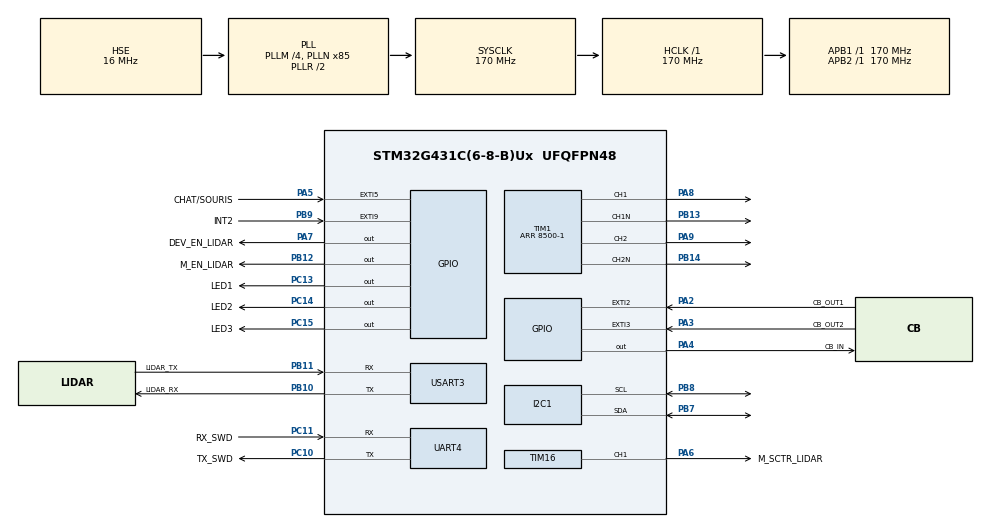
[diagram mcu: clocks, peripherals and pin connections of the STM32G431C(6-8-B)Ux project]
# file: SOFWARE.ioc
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FREERTOS.Tasks01=defaultTask,0,128,StartDefaultTask,Default,NULL,Dynamic,NULL,NULL
FREERTOS.configTOTAL_HEAP_SIZE=10000
FREERTOS.configUSE_NEWLIB_REENTRANT=1
I2C1.I2C_Fall_Time=150
I2C1.I2C_Rise_Time=150
I2C1.Speed=100
I2C1.Timing=0xA0623C56
Mcu.Family=STM32G4
Mcu.Name=STM32G431C(6-8-B)Ux
Mcu.Package=UFQFPN48
NVIC.EXTI2_IRQn=true\:5\:0\:false\:false\:true\:true\:true\:true\:true
NVIC.EXTI3_IRQn=true\:5\:0\:false\:false\:true\:true\:true\:true\:true
NVIC.EXTI9_5_IRQn=true\:5\:0\:false\:false\:true\:true\:true\:true\:true
NVIC.PriorityGroup=NVIC_PRIORITYGROUP_4
NVIC.RCC_IRQn=true\:5\:0\:false\:false\:true\:true\:true\:false\:true
NVIC.TIM2_IRQn=true\:8\:0\:true\:false\:true\:true\:true\:true\:true
NVIC.TIM6_DAC_IRQn=true\:15\:0\:false\:false\:true\:false\:false\:true\:true
NVIC.TimeBase=TIM6_DAC_IRQn
NVIC.TimeBaseIP=TIM6
NVIC.USART3_IRQn=true\:5\:0\:true\:false\:true\:true\:true\:true\:true
PA13.GPIO_Label=SWDIO
PA13.Mode=Trace_Asynchronous_SW
PA13.Signal=SYS_JTMS-SWDIO
PA14.GPIO_Label=SWCLK
PA14.Mode=Trace_Asynchronous_SW
PA14.Signal=SYS_JTCK-SWCLK
PA2.GPIO_Label=CB_OUT1
PA2.GPIO_ModeDefaultEXTI=GPIO_MODE_IT_FALLING
PA2.Signal=GPXTI2
PA3.GPIO_Label=CB_OUT2
PA3.GPIO_ModeDefaultEXTI=GPIO_MODE_IT_FALLING
PA3.Signal=GPXTI3
PA4.GPIO_Label=CB_IN
PA4.Signal=GPIO_Output
PA5.GPIO_Label=CHAT/SOURIS
PA5.GPIO_ModeDefaultEXTI=GPIO_MODE_IT_FALLING
PA5.Signal=GPXTI5
PA6.GPIO_Label=M_SCTR_LIDAR
PA6.Signal=S_TIM16_CH1
PA7.GPIO_Label=DEV_EN_LIDAR
PA7.Signal=GPIO_Output
PA8.GPIO_ModeDefaultPP=GPIO_MODE_AF_PP
PA8.GPIO_PuPd=GPIO_NOPULL
PA8.GPIO_Speed=GPIO_SPEED_FREQ_LOW
PA8.Signal=S_TIM1_CH1
PA9.GPIO_ModeDefaultPP=GPIO_MODE_AF_PP
PA9.GPIO_PuPd=GPIO_NOPULL
PA9.GPIO_Speed=GPIO_SPEED_FREQ_LOW
PA9.Signal=S_TIM1_CH2
PB10.GPIO_Label=LIDAR_RX
PB10.Mode=Asynchronous
PB10.Signal=USART3_TX
PB11.GPIO_Label=LIDAR_TX
PB11.Mode=Asynchronous
PB11.Signal=USART3_RX
PB12.GPIO_Label=M_EN_LIDAR
PB12.Signal=GPIO_Output
PB13.GPIO_ModeDefaultPP=GPIO_MODE_AF_PP
PB13.GPIO_PuPd=GPIO_NOPULL
PB13.GPIO_Speed=GPIO_SPEED_FREQ_LOW
PB13.Mode=PWM Generation1 CH1 CH1N
PB13.Signal=TIM1_CH1N
PB14.GPIO_ModeDefaultPP=GPIO_MODE_AF_PP
PB14.GPIO_PuPd=GPIO_NOPULL
PB14.GPIO_Speed=GPIO_SPEED_FREQ_LOW
PB14.Mode=PWM Generation2 CH2 CH2N
PB14.Signal=TIM1_CH2N
PB3.GPIO_Label=SWO
PB3.Mode=Trace_Asynchronous_SW
PB3.Signal=SYS_JTDO-SWO
PB7.Mode=I2C
PB7.Signal=I2C1_SDA
PB8-BOOT0.Mode=I2C
PB8-BOOT0.Signal=I2C1_SCL
PB9.GPIO_Label=INT2
PB9.GPIO_ModeDefaultEXTI=GPIO_MODE_IT_RISING
PB9.Signal=GPXTI9
PC10.GPIO_Label=TX_SWD
PC10.Mode=Asynchronous
PC10.Signal=UART4_TX
PC11.GPIO_Label=RX_SWD
PC11.Mode=Asynchronous
PC11.Signal=UART4_RX
PC13.GPIO_Label=LED1
PC13.Signal=GPIO_Output
PC14-OSC32_IN.GPIO_Label=LED2
PC14-OSC32_IN.Signal=GPIO_Output
PC15-OSC32_OUT.GPIO_Label=LED3
PC15-OSC32_OUT.Signal=GPIO_Output
PF0-OSC_IN.Mode=HSE-External-Oscillator
PF0-OSC_IN.Signal=RCC_OSC_IN
PF1-OSC_OUT.Mode=HSE-External-Oscillator
PF1-OSC_OUT.Signal=RCC_OSC_OUT
ProjectManager.HeapSize=0x200
ProjectManager.StackSize=0x400
ProjectManager.TargetToolchain=STM32CubeIDE
RCC.ADC12Freq_Value=170000000
RCC.AHBFreq_Value=170000000
RCC.APB1Freq_Value=170000000
RCC.APB1TimFreq_Value=170000000
RCC.APB2Freq_Value=170000000
RCC.APB2TimFreq_Value=170000000
RCC.CortexFreq_Value=170000000
RCC.EXTERNAL_CLOCK_VALUE=12288000
RCC.HCLKFreq_Value=170000000
RCC.HSE_VALUE=16000000
RCC.HSI48_VALUE=48000000
RCC.HSI_VALUE=16000000
RCC.LSE_VALUE=32768
RCC.PLLM=RCC_PLLM_DIV4
RCC.PLLN=85
RCC.PLLSourceVirtual=RCC_PLLSOURCE_HSE
RCC.SYSCLKFreq_VALUE=170000000
RCC.SYSCLKSource=RCC_SYSCLKSOURCE_PLLCLK
RCC.USBFreq_Value=170000000
RCC.VCOOutputFreq_Value=340000000
SH.S_TIM16_CH1.0=TIM16_CH1,PWM Generation1 CH1
SH.S_TIM1_CH1.0=TIM1_CH1,PWM Generation1 CH1 CH1N
SH.S_TIM1_CH2.0=TIM1_CH2,PWM Generation2 CH2 CH2N
TIM1.AutoReloadPreload=TIM_AUTORELOAD_PRELOAD_ENABLE
TIM1.Channel-PWM\ Generation1\ CH1\ CH1N=TIM_CHANNEL_1
TIM1.Channel-PWM\ Generation2\ CH2\ CH2N=TIM_CHANNEL_2
TIM1.DeadTime=10
TIM1.DeadTimePreload=DISABLE
TIM1.PeriodNoDither=8500-1
TIM1.PulseNoDither_1=3400
TIM1.PulseNoDither_2=2400
TIM16.Channel=TIM_CHANNEL_1
TIM2.PeriodNoDither=849999999
UART4.SwapParam=UART_ADVFEATURE_SWAP_DISABLE
USART3.VirtualMode-Asynchronous=VM_ASYNC
VP_FREERTOS_VS_CMSIS_V1.Mode=CMSIS_V1
VP_SYS_VS_DBSignals.Mode=DisableDeadBatterySignals
VP_SYS_VS_tim6.Mode=TIM6
VP_TIM16_VS_ClockSourceINT.Mode=Enable_Timer
VP_TIM1_VS_ClockSourceINT.Mode=Internal
VP_TIM2_VS_ClockSourceINT.Mode=Internal
board=custom

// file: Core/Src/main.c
/* USER CODE BEGIN Header */
/**
 ******************************************************************************
 * @file           : main.c
 * @brief          : Main program body
 ******************************************************************************
 * @attention
 *
 * Copyright (c) 2024 STMicroelectronics.
 * All rights reserved.
 *
 * This software is licensed under terms that can be found in the LICENSE file
 * in the root directory of this software component.
 * If no LICENSE file comes with this software, it is provided AS-IS.
 *
 ******************************************************************************
 */
/* USER CODE END Header */
#include "main.h"
#include "cmsis_os.h"
#include "i2c.h"
#include "tim.h"
#include "usart.h"
#include "gpio.h"

/* USER CODE BEGIN Includes */
#include <stdio.h>
#include "tab.h"
#include "lidar_X2_driver.h"
#include "MoteurPWM.h"
#include "Moustache.h"
#include "ADXL343.h"
/* USER CODE END Includes */

/* USER CODE BEGIN PV */

extern uint8_t sendTab[TABLE_SIZE];
extern uint8_t flagDMA;
extern uint8_t rxByte;
extern float lidar_point[SIZE_POINT] ;
uint8_t flag = 0;

// FreeRTOS Task Handles
TaskHandle_t initTaskHandle = NULL;
TaskHandle_t lidarTaskHandle = NULL;
TaskHandle_t ledBlinkTaskHandle = NULL;
TaskHandle_t h_task_bord = NULL;
static TaskHandle_t TapDetected_task = NULL;
TaskHandle_t modeTaskHandle = NULL;
TaskHandle_t setangleTaskHandle = NULL;

// Robot and peripheral structures
Moteur_HandleTypeDef moteur_droit;
Moteur_HandleTypeDef moteur_gauche;
h_Robot robot;
float angle;
ADXL343_InstanceDef_t ADXL343;
/* USER CODE END PV */

void SystemClock_Config(void);
void MX_FREERTOS_Init(void);
/* USER CODE BEGIN PFP */
int __io_putchar(int chr);
void lidarTask(void *pvParameters);
void ledBlinkTask(void *pvParameters);
void task_angle(void *unused);
void task_Bord(void *unused);
void TapDetected(void *param);
void modeChange(void *param);
void initTask(void *pvParameters);
void robotAngle(void * param);
/* USER CODE END PFP */

int main(void)
{

	/* MCU Configuration--------------------------------------------------------*/

	/* Reset of all peripherals, Initializes the Flash interface and the Systick. */
	HAL_Init();

	/* Configure the system clock */
	SystemClock_Config();

	/* Initialize all configured peripherals */
	MX_GPIO_Init();
	MX_TIM1_Init();
	MX_TIM16_Init();
	MX_UART4_Init();
	MX_USART3_UART_Init();
	MX_I2C1_Init();
	MX_TIM2_Init();
	/* USER CODE BEGIN 2 */
	// Peripheral Initialization

	Moteur_init(&moteur_droit, &htim1, TIM_CHANNEL_1);
	Moteur_init(&moteur_gauche, &htim1, TIM_CHANNEL_2);
	Robot_Init(&robot, &moteur_droit, &moteur_gauche);
	Robot_Start(&robot);
	Moustache_Init();
	ADXL343_Init(&ADXL343, &hi2c1);
	HAL_TIM_Base_Start_IT(&htim2) ;
	//Create FreeRTOS tasks
	xTaskCreate(lidarTask, "Lidar Task", 512, NULL, 2, &lidarTaskHandle);
	xTaskCreate(ledBlinkTask, "LED Blink Task", 256, NULL,2, &ledBlinkTaskHandle);
	xTaskCreate(modeChange, "mode", 128, NULL, 5, &modeTaskHandle);
	xTaskCreate(TapDetected, "TapDetected", 128, NULL, 5, &TapDetected_task);
	xTaskCreate(initTask, "Init Task", 256, NULL, 7, &initTaskHandle);
	xTaskCreate(robotAngle, "Init Task", 256, NULL, 2, &setangleTaskHandle) ;

	//
	/* USER CODE END 2 */

	/* Call init function for freertos objects (in cmsis_os2.c) */
	MX_FREERTOS_Init();

	/* Start scheduler */
	osKernelStart();

	/* We should never get here as control is now taken by the scheduler */

	/* Infinite loop */
	/* USER CODE BEGIN WHILE */

	while (1)
	{
		HAL_GPIO_TogglePin(LED1_GPIO_Port, LED1_Pin);
		HAL_GPIO_TogglePin(LED2_GPIO_Port, LED2_Pin);
		HAL_GPIO_TogglePin(LED3_GPIO_Port, LED3_Pin);
		HAL_Delay(500);
		//vTaskDelay(pdMS_TO_TICKS(500));
		//lidar_scan_loop();
		/*if(flag == 1){
			for(int i=0 ; i<POINT_BUFF_SIZE ;i++)
			{
				printf("le point %d a angle %f et diastance %f \r\n",i,lidar.point[i].Angle,lidar.point[i].Distance);
				printf("FSA = %d,LSA=%d , LSN=%d , ind=%d \r\n",lidar.processing.LSA,lidar.processing.LSA,lidar.processing.LSN,lidar.processing.idx);
			}
			flag = 0 ;
		}*/

		/* USER CODE END WHILE */

	}
}

void SystemClock_Config(void)
{
	RCC_OscInitTypeDef RCC_OscInitStruct = {0};
	RCC_ClkInitTypeDef RCC_ClkInitStruct = {0};

	/** Configure the main internal regulator output voltage
	 */
	HAL_PWREx_ControlVoltageScaling(PWR_REGULATOR_VOLTAGE_SCALE1_BOOST);

	/** Initializes the RCC Oscillators according to the specified parameters
	 * in the RCC_OscInitTypeDef structure.
	 */
	RCC_OscInitStruct.OscillatorType = RCC_OSCILLATORTYPE_HSE;
	RCC_OscInitStruct.HSEState = RCC_HSE_ON;
	RCC_OscInitStruct.PLL.PLLState = RCC_PLL_ON;
	RCC_OscInitStruct.PLL.PLLSource = RCC_PLLSOURCE_HSE;
	RCC_OscInitStruct.PLL.PLLM = RCC_PLLM_DIV4;
	RCC_OscInitStruct.PLL.PLLN = 85;
	RCC_OscInitStruct.PLL.PLLP = RCC_PLLP_DIV2;
	RCC_OscInitStruct.PLL.PLLQ = RCC_PLLQ_DIV2;
	RCC_OscInitStruct.PLL.PLLR = RCC_PLLR_DIV2;
	if (HAL_RCC_OscConfig(&RCC_OscInitStruct) != HAL_OK)
	{
		Error_Handler();
	}

	/** Initializes the CPU, AHB and APB buses clocks
	 */
	RCC_ClkInitStruct.ClockType = RCC_CLOCKTYPE_HCLK|RCC_CLOCKTYPE_SYSCLK
			|RCC_CLOCKTYPE_PCLK1|RCC_CLOCKTYPE_PCLK2;
	RCC_ClkInitStruct.SYSCLKSource = RCC_SYSCLKSOURCE_PLLCLK;
	RCC_ClkInitStruct.AHBCLKDivider = RCC_SYSCLK_DIV1;
	RCC_ClkInitStruct.APB1CLKDivider = RCC_HCLK_DIV1;
	RCC_ClkInitStruct.APB2CLKDivider = RCC_HCLK_DIV1;

	if (HAL_RCC_ClockConfig(&RCC_ClkInitStruct, FLASH_LATENCY_4) != HAL_OK)
	{
		Error_Handler();
	}
}

/* USER CODE BEGIN 4 */

//Lidar Task
void initTask (void *pvParameters)
{
	lidar_init();
	vTaskDelete(NULL);
}

void lidarTask(void *pvParameters)
{
	for(;;)
	{
		if (ulTaskNotifyTake(pdTRUE, portMAX_DELAY) == pdTRUE)
		{
			lidar_process();
		}
	}
}
// Robot orientation task
void robotAngle(void * param)
{ float angle = 0 ;
for(;;)
{

	if (ulTaskNotifyTake(pdTRUE, portMAX_DELAY) == pdTRUE)
	{
		angle = angle +90  ;
		//float distance = lidar_point[0] ;
		//for(int i=1 ; i<SIZE_POINT ; i++)
		//{
		//	if((lidar_point[i]>distance)&&(lidar_point[i]!=0))
		//{
		//	distance = lidar_point[i] ;
		//	angle = i ;
		//}
		//}
		printf("l'angle = %f \n",angle);
		Robot_setAngle(&robot, angle);
	}
}
}
//LED Blink Task
void ledBlinkTask(void *pvParameters) {
	for (;;) {
		if(robot.mode==0)
		{
			HAL_GPIO_TogglePin(LED1_GPIO_Port, LED1_Pin);
			//HAL_GPIO_TogglePin(LED2_GPIO_Port, LED2_Pin);
		}
		else if(robot.mode==1)
		{
			HAL_GPIO_TogglePin(LED3_GPIO_Port, LED3_Pin);
		}
		vTaskDelay(pdMS_TO_TICKS(500));
	}
}

//mode change Task
void modeChange(void *param) {
	uint32_t ulNotificationValue;

	for(;;) {
		ulNotificationValue = ulTaskNotifyTake(pdTRUE, portMAX_DELAY);
		if (ulNotificationValue != 0){
			if(robot.mode == 0)
			{
				robot.mode = 1;
			}
			else
			{
				robot.mode = 0;
			}
		}
	}
}
//Tap Detection Task
void TapDetected(void *param) {
	uint32_t ulNotificationValue;

	for(;;) {
		ulNotificationValue = ulTaskNotifyTake(pdTRUE, portMAX_DELAY);
		if (ulNotificationValue != 0) {
			uint8_t buf;
			HAL_I2C_Mem_Read(&hi2c1, ADXL343_ADDRESS, ADXL343_REG_INT_SOURCE,
					I2C_MEMADD_SIZE_8BIT, &buf, 1, HAL_MAX_DELAY);
			Robot_Stop(&robot);
			if(robot.mode == 0)
			{
				robot.mode = 1;
			}
			else
			{
				robot.mode = 0;
			}
		}
	}
}

//Fonctions CALLBACK

void HAL_GPIO_EXTI_Callback(uint16_t GPIO_Pin)
{
	if(GPIO_Pin==CHAT_SOURIS_Pin)
	{
		BaseType_t xHigherPriorityTaskWoken = pdFALSE;
		vTaskNotifyGiveFromISR(modeTaskHandle, &xHigherPriorityTaskWoken);
		portYIELD_FROM_ISR(xHigherPriorityTaskWoken);
	}
	else if(GPIO_Pin==INT2_Pin)
	{
		BaseType_t xHigherPriorityTaskWoken = pdFALSE;
		vTaskNotifyGiveFromISR(TapDetected_task, &xHigherPriorityTaskWoken);
		portYIELD_FROM_ISR(xHigherPriorityTaskWoken);
	}

	Moustache_HandleInterrupt(GPIO_Pin);
}
void HAL_UART_RxCpltCallback(UART_HandleTypeDef *huart)
{
	if (huart->Instance == USART3)
	{
		if(readTrame(&rxByte))
		{
			BaseType_t xHigherPriorityTaskWoken = pdFALSE;
			vTaskNotifyGiveFromISR(lidarTaskHandle, &xHigherPriorityTaskWoken);
			portYIELD_FROM_ISR(xHigherPriorityTaskWoken);
		}
		HAL_UART_Receive_IT(&huart3, &rxByte, 1);
	}
}

int __io_putchar(int chr)
{
	HAL_UART_Transmit(&huart4, (uint8_t *)&chr, 1, HAL_MAX_DELAY);
	return chr;
}
/* USER CODE END 4 */

void HAL_TIM_PeriodElapsedCallback(TIM_HandleTypeDef *htim)
{
	if (htim->Instance == TIM6) {
		HAL_IncTick();
	}
	/* USER CODE BEGIN Callback 1 */
	if (htim->Instance == TIM2) {
		BaseType_t xHigherPriorityTaskWoken = pdFALSE;
		vTaskNotifyGiveFromISR(setangleTaskHandle, &xHigherPriorityTaskWoken);
		portYIELD_FROM_ISR(xHigherPriorityTaskWoken);
	}
	/* USER CODE END Callback 1 */
}

void Error_Handler(void)
{
	__disable_irq();
	while (1)
	{
	}
}
